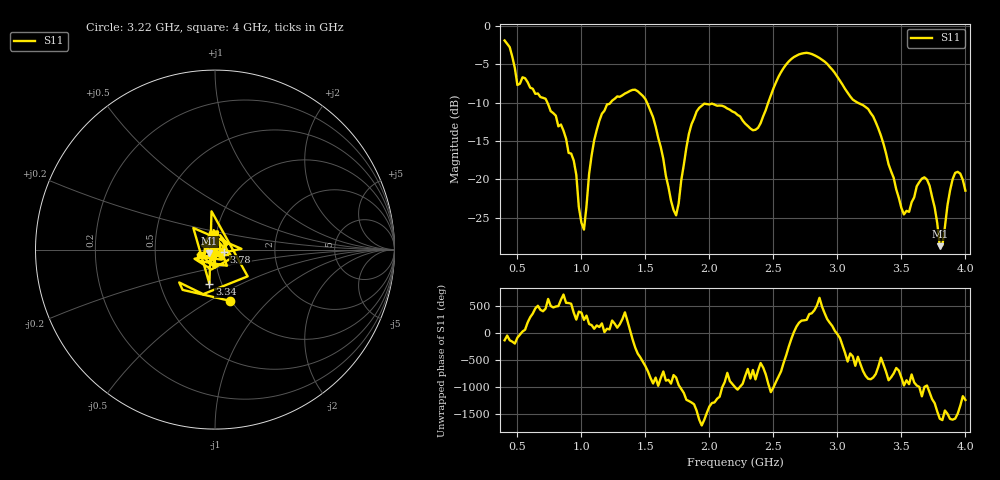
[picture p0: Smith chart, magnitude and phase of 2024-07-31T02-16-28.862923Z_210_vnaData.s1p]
!Created with skrf (http://scikit-rf.org).
# Hz S RI R 50.0
!freq ReS11 ImS11
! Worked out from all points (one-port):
!   181 points, 400 MHz to 4 GHz, reference 50 ohm
!   lowest |S11| = -28.7 dB at 3.8 GHz (marker M1), VSWR 1.08, Z = 47 - j1.85 ohm
!   |S11| at or under -10 dB: 734.5 MHz to 1.227 GHz (492.6 MHz wide, 50.2 % of centre); 1.513 GHz to 2.459 GHz (946.7 MHz wide, 47.7 % of centre); 3.159 GHz to end of sweep
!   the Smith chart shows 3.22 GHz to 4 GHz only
!   S11 on the Smith chart (normalised r, x): 3.22 GHz: 0.99, -0.62; 3.34 GHz: 0.88, -0.35; 3.78 GHz: 1.11, -0.03; 4 GHz: 0.85, -0.05
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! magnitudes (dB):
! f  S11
! 400 MHz  -1.9
! 500 MHz  -7.7
! 560 MHz  -6.8
! 860 MHz  -13.7
! 940 MHz  -17.5
! 1.02 GHz  -26.6
! 1.06 GHz  -19.3
! 1.12 GHz  -13.5
! 1.3 GHz  -9.2
! 1.5 GHz  -9.5
! 1.72 GHz  -24.0
! 1.76 GHz  -23.1
! 1.84 GHz  -14.1
! 1.9 GHz  -11.2
! 2.2 GHz  -11.3
! 2.38 GHz  -13.3
! 2.66 GHz  -4.0
! 2.88 GHz  -4.4
! 3.1 GHz  -9.2
! 3.22 GHz  -10.6
! 3.34 GHz  -14.3
! 3.5 GHz  -23.7
! 3.56 GHz  -24.3
! 3.68 GHz  -19.7
! 3.78 GHz  -25.7
! 3.8 GHz  -28.7
! 3.92 GHz  -19.2
! 4 GHz  -21.5
